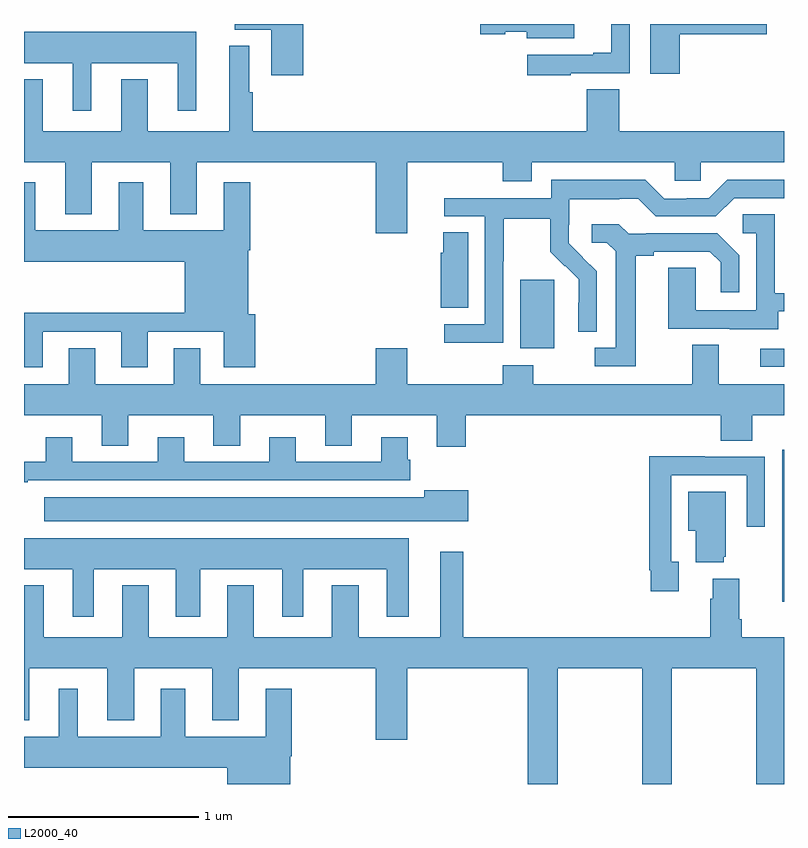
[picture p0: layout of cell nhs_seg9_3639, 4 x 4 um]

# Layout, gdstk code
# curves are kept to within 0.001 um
import gdstk
lib = gdstk.Library(unit=1e-6, precision=1e-09)
def R(c, l, rs):  # rectangles x0, y0, x1, y1
    for r in rs: c.add(gdstk.rectangle(r[:2], r[2:], *l))
def P(c, l, *ps):  # polygons
    for p in ps: c.add(gdstk.Polygon(p, *l))
L2000_40 = (2000, 40)

nhs_seg9_3639 = lib.new_cell('nhs_seg9_3639')
R(nhs_seg9_3639, L2000_40, [(322.875,1176.696,323,1176.792), (321.611,1176.794,321.79,1177.155)])
P(nhs_seg9_3639, L2000_40, [(322.451,1178.447),(322.909,1178.447),(322.909,1178.5),(322.295,1178.5),(322.295,1178.238),(322.451,1178.238)],
  [(320.471,1178.5),(320.108,1178.5),(320.108,1178.471),(320.3,1178.471),(320.3,1178.229),(320.471,1178.229)],
  [(321.878,1178.241),(322.188,1178.241),(322.188,1178.5),(322.091,1178.5),(322.091,1178.35),(321.995,1178.35),(321.995,1178.337),(321.648,1178.337),(321.648,1178.229),(321.878,1178.229)],
  [(321.895,1178.5),(321.402,1178.5),(321.402,1178.447),(321.533,1178.447),(321.533,1178.459),(321.647,1178.459),(321.647,1178.426),(321.895,1178.426)],
  [(319.354,1178.294),(319.808,1178.294),(319.808,1178.043),(319.906,1178.043),(319.906,1178.458),(319,1178.458),(319,1178.294),(319.256,1178.294),(319.256,1178.043),(319.354,1178.043)],
  [(321.016,1177.772),(321.521,1177.772),(321.521,1177.673),(321.673,1177.673),(321.673,1177.772),(322.425,1177.772),(322.425,1177.674),(322.563,1177.674),(322.563,1177.772),(323,1177.772),(323,1177.936),(322.133,1177.936),(322.133,1178.156),(321.962,1178.156),(321.962,1177.936),(320.203,1177.936),(320.203,1178.141),(320.185,1178.141),(320.185,1178.386),(320.081,1178.386),(320.081,1177.936),(319.651,1177.936),(319.651,1178.209),(319.511,1178.209),(319.511,1177.936),(319.099,1177.936),(319.099,1178.209),(319,1178.209),(319,1177.772),(319.217,1177.772),(319.217,1177.499),(319.357,1177.499),(319.357,1177.772),(319.769,1177.772),(319.769,1177.499),(319.909,1177.499),(319.909,1177.772),(320.852,1177.772),(320.852,1177.398),(321.016,1177.398)],
  [(321.522,1177.252),(321.525,1177.252),(321.525,1177.476),(321.769,1177.476),(321.769,1177.301),(321.846,1177.224),(321.849,1177.227),(321.92,1177.157),(321.92,1177.034),(321.918,1177.034),(321.918,1176.88),(322.014,1176.88),(322.014,1177.198),(321.868,1177.346),(321.868,1177.443),(321.87,1177.443),(321.87,1177.577),(322.133,1177.577),(322.133,1177.581),(322.233,1177.581),(322.326,1177.488),(322.641,1177.488),(322.737,1177.584),(323,1177.584),(323,1177.68),(322.701,1177.68),(322.605,1177.584),(322.487,1177.584),(322.487,1177.581),(322.371,1177.581),(322.271,1177.681),(321.774,1177.681),(321.774,1177.584),(321.213,1177.584),(321.213,1177.488),(321.426,1177.488),(321.426,1176.921),(321.213,1176.921),(321.213,1176.823),(321.522,1176.823)],
  [(319.099,1176.879),(319.511,1176.879),(319.511,1176.693),(319.651,1176.693),(319.651,1176.879),(320.051,1176.879),(320.051,1176.693),(320.216,1176.693),(320.216,1176.972),(320.179,1176.972),(320.179,1177.31),(320.192,1177.31),(320.192,1177.666),(320.051,1177.666),(320.051,1177.414),(319.627,1177.414),(319.627,1177.666),(319.499,1177.666),(319.499,1177.414),(319.06,1177.414),(319.06,1177.666),(319,1177.666),(319,1177.25),(319.847,1177.25),(319.847,1176.98),(319,1176.98),(319,1176.693),(319.099,1176.693)],
  [(322.969,1176.987),(323,1176.987),(323,1177.083),(322.95,1177.083),(322.95,1177.499),(322.782,1177.499),(322.782,1177.398),(322.854,1177.398),(322.854,1176.993),(322.536,1176.993),(322.536,1177.217),(322.391,1177.217),(322.391,1176.897),(322.715,1176.897),(322.715,1176.893),(322.969,1176.893)],
  [(322.219,1177.28),(322.315,1177.28),(322.315,1177.302),(322.61,1177.302),(322.667,1177.245),(322.667,1177.089),(322.764,1177.089),(322.764,1177.282),(322.648,1177.398),(322.276,1177.398),(322.276,1177.395),(322.182,1177.395),(322.13,1177.447),(321.987,1177.447),(321.987,1177.35),(322.068,1177.35),(322.115,1177.303),(322.115,1176.795),(322.005,1176.795),(322.005,1176.699),(322.219,1176.699)],
  [(321.337,1177.403),(321.206,1177.403),(321.206,1177.295),(321.194,1177.295),(321.194,1177.006),(321.337,1177.006)],
  [(321.326,1176.44),(322.667,1176.44),(322.667,1176.307),(322.832,1176.307),(322.832,1176.44),(323,1176.44),(323,1176.604),(322.657,1176.604),(322.657,1176.812),(322.517,1176.812),(322.517,1176.604),(321.681,1176.604),(321.681,1176.703),(321.521,1176.703),(321.521,1176.604),(321.016,1176.604),(321.016,1176.793),(320.852,1176.793),(320.852,1176.604),(319.927,1176.604),(319.927,1176.794),(319.787,1176.794),(319.787,1176.604),(319.375,1176.604),(319.375,1176.794),(319.235,1176.794),(319.235,1176.604),(319,1176.604),(319,1176.44),(319.409,1176.44),(319.409,1176.28),(319.549,1176.28),(319.549,1176.44),(319.997,1176.44),(319.997,1176.28),(320.137,1176.28),(320.137,1176.44),(320.585,1176.44),(320.585,1176.28),(320.725,1176.28),(320.725,1176.44),(321.173,1176.44),(321.173,1176.276),(321.326,1176.276)],
  [(319.019,1176.099),(321.032,1176.099),(321.032,1176.207),(321.019,1176.207),(321.019,1176.325),(320.879,1176.325),(320.879,1176.195),(320.431,1176.195),(320.431,1176.325),(320.291,1176.325),(320.291,1176.195),(319.843,1176.195),(319.843,1176.325),(319.703,1176.325),(319.703,1176.195),(319.255,1176.195),(319.255,1176.325),(319.115,1176.325),(319.115,1176.195),(319,1176.195),(319,1176.087),(319.019,1176.087)],
  [(323,1176.259),(322.992,1176.259),(322.992,1175.765),(322.99,1175.765),(322.99,1175.459),(323,1175.459)],
  [(322.447,1175.67),(322.407,1175.67),(322.407,1176.126),(322.803,1176.126),(322.803,1175.853),(322.899,1175.853),(322.899,1176.222),(322.583,1176.222),(322.583,1176.224),(322.291,1176.224),(322.291,1175.626),(322.299,1175.626),(322.299,1175.514),(322.447,1175.514)],
  [(321.337,1176.046),(321.107,1176.046),(321.107,1176.01),(319.107,1176.01),(319.107,1175.882),(321.337,1175.882)],
  [(322.682,1175.697),(322.693,1175.697),(322.693,1176.037),(322.496,1176.037),(322.496,1175.834),(322.535,1175.834),(322.535,1175.666),(322.682,1175.666)],
  [(319.366,1175.63),(319.799,1175.63),(319.799,1175.379),(319.927,1175.379),(319.927,1175.63),(320.36,1175.63),(320.36,1175.379),(320.47,1175.379),(320.47,1175.63),(320.909,1175.63),(320.909,1175.379),(321.025,1175.379),(321.025,1175.794),(319,1175.794),(319,1175.63),(319.256,1175.63),(319.256,1175.379),(319.366,1175.379)],
  [(321.81,1175.108),(322.255,1175.108),(322.255,1174.5),(322.41,1174.5),(322.41,1175.108),(322.855,1175.108),(322.855,1174.5),(323,1174.5),(323,1175.272),(322.778,1175.272),(322.778,1175.368),(322.765,1175.368),(322.765,1175.581),(322.625,1175.581),(322.625,1175.474),(322.613,1175.474),(322.613,1175.272),(321.313,1175.272),(321.313,1175.722),(321.191,1175.722),(321.191,1175.272),(320.761,1175.272),(320.761,1175.545),(320.621,1175.545),(320.621,1175.272),(320.209,1175.272),(320.209,1175.545),(320.069,1175.545),(320.069,1175.272),(319.657,1175.272),(319.657,1175.545),(319.517,1175.545),(319.517,1175.272),(319.105,1175.272),(319.105,1175.545),(319,1175.545),(319,1174.835),(319.027,1174.835),(319.027,1175.108),(319.439,1175.108),(319.439,1174.835),(319.579,1174.835),(319.579,1175.108),(319.991,1175.108),(319.991,1174.835),(320.131,1174.835),(320.131,1175.108),(320.852,1175.108),(320.852,1174.734),(321.016,1174.734),(321.016,1175.108),(321.65,1175.108),(321.65,1174.5),(321.81,1174.5)],
  [(320.401,1174.646),(320.409,1174.646),(320.409,1175.002),(320.273,1175.002),(320.273,1174.75),(319.849,1174.75),(319.849,1175.002),(319.721,1175.002),(319.721,1174.75),(319.282,1174.75),(319.282,1175.002),(319.184,1175.002),(319.184,1174.75),(319,1174.75),(319,1174.586),(320.069,1174.586),(320.069,1174.5),(320.401,1174.5)])

lib.write_gds('nhs_seg9_3639.gds')
